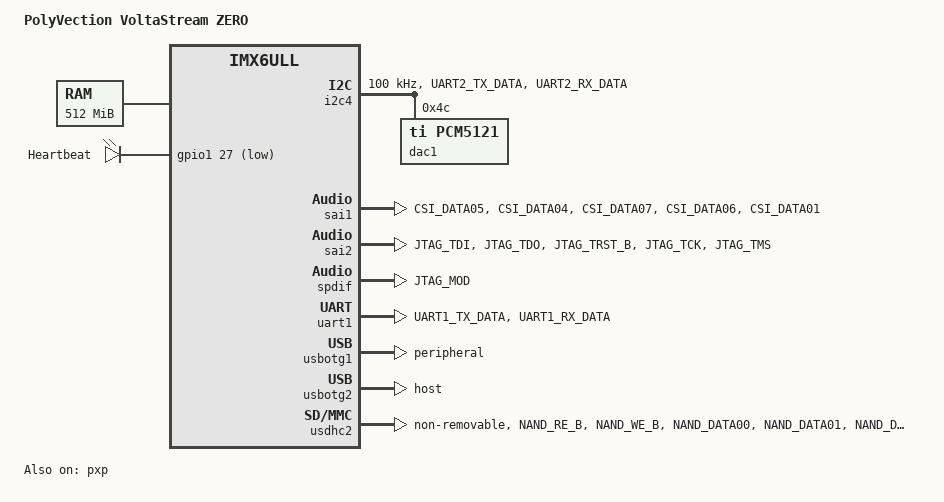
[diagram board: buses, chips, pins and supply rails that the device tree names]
/*
 * Copyright (C) 2016 Freescale Semiconductor, Inc.
 *
 * This program is free software; you can redistribute it and/or modify
 * it under the terms of the GNU General Public License version 2 as
 * published by the Free Software Foundation.
 */

/dts-v1/;

#include <dt-bindings/input/input.h>
#include "imx6ull.dtsi"

/ {
	model = "PolyVection VoltaStream ZERO";
	compatible = "polyvection,voltastream0", "fsl,imx6ull";

	chosen {
		stdout-path = &uart1;
	};

	memory {
		reg = <0x80000000 0x20000000>;
	};

	reserved-memory {
		#address-cells = <1>;
		#size-cells = <1>;
		ranges;

		linux,cma {
			compatible = "shared-dma-pool";
			reusable;
			size = <0x14000000>;
			linux,cma-default;
		};
	};

	regulators {
		compatible = "simple-bus";
		#address-cells = <1>;
		#size-cells = <0>;
	};

	sound-spdif {
		compatible = "fsl,imx-audio-spdif";
		model = "imx-spdif";
		spdif-controller = <&spdif>;
		spdif-out;
	};

	sound1 {
		compatible = "polyvection,imx-audio-pcm512x";
		model = "pcm5121";
		cpu-dai = <&sai2>;
		gpr = <&gpr 4 0x100000 0x100000>;
		asrc-controller = <&asrc>;
		audio-codec = <&dac1>;
		audio-routing =
			"CPU-Playback", "ASRC-Playback",
			"Playback", "CPU-Playback";
		status = "okay";
	};
	
	leds {
		compatible = "gpio-leds";

		user_led: user {
			label = "Heartbeat";
			pinctrl-names = "default";
			pinctrl-0 = <&pinctrl_led_green>;
			gpios = <&gpio1 27 GPIO_ACTIVE_LOW>;
			linux,default-trigger = "heartbeat";
		};
	};

};

&cpu0 {
	arm-supply = <&reg_arm>;
	soc-supply = <&reg_soc>;
};

&clks {
	assigned-clocks = <&clks IMX6UL_CLK_PLL4_AUDIO_DIV>;
	assigned-clock-rates = <786432000>;	
};

&gpc {
	fsl,cpu_pupscr_sw2iso = <0x1>;
	fsl,cpu_pupscr_sw = <0x0>;
	fsl,cpu_pdnscr_iso2sw = <0x1>;
	fsl,cpu_pdnscr_iso = <0x1>;
	fsl,ldo-bypass = <0>; /* DCDC, ldo-enable */
};

&i2c4 {
	clock-frequency = <100000>;
	pinctrl-names = "default";
	pinctrl-0 = <&pinctrl_i2c4>;
	status = "okay";

	dac1: pcm5121@4c {
		#sound-dai-cells = <0>;
		compatible = "ti,pcm5121";
		reg = <0x4c>;
		status = "okay";
	};
};


&pxp {
	status = "okay";
};

&sai1 {
	pinctrl-names = "default";
	pinctrl-0 = <&pinctrl_sai1>;

	assigned-clocks = <&clks IMX6UL_CLK_SAI1_SEL>,
			  <&clks IMX6UL_CLK_SAI1>;
	assigned-clock-parents = <&clks IMX6UL_CLK_PLL4_AUDIO_DIV>;
	assigned-clock-rates = <0>, <12288000>;

	status = "okay";
};


&sai2 {
	pinctrl-names = "default";
	pinctrl-0 = <&pinctrl_sai2>;

	assigned-clocks = <&clks IMX6UL_CLK_SAI2_SEL>,
			  <&clks IMX6UL_CLK_SAI2>;
	assigned-clock-parents = <&clks IMX6UL_CLK_PLL4_AUDIO_DIV>;
	assigned-clock-rates = <0>, <12288000>;

	status = "okay";
};

&spdif {
	pinctrl-names = "default";
	pinctrl-0 = <&pinctrl_spdif_out>;
	status = "okay";
};

&uart1 {
	pinctrl-names = "default";
	pinctrl-0 = <&pinctrl_uart1>;
	status = "okay";
};

&usbotg1 {
	dr_mode = "peripheral";
	srp-disable;
	hnp-disable;
	adp-disable;
	status = "okay";
};

&usbotg2 {
	dr_mode = "host";
	disable-over-current;
	status = "okay";
};

&usbphy1 {
	tx-d-cal = <0x5>;
};

&usbphy2 {
	tx-d-cal = <0x5>;
};

&usdhc2 {
	pinctrl-names = "default";
	pinctrl-0 = <&pinctrl_usdhc2>;
	non-removable;
	status = "okay";
};

&iomuxc {
	pinctrl-names = "default";
	pinctrl-0 = <&pinctrl_hog_1>;
	imx6ul-evk {

		pinctrl_hog_1: hoggrp-1 {
			fsl,pins = <
				MX6UL_PAD_SNVS_TAMPER0__GPIO5_IO00	0x80000000
				MX6UL_PAD_UART3_TX_DATA__GPIO1_IO24	0x4001f8b0 /* PCM MUTE PULL UP */
			>;
		};
		
		pinctrl_led_green: ledgreengrp {
			fsl,pins = <
				MX6UL_PAD_UART3_RTS_B__UART3_DCE_RTS        0x1b0b0
			>;
		};

		pinctrl_i2c1: i2c1grp {
			fsl,pins = <
				MX6UL_PAD_UART4_TX_DATA__I2C1_SCL 0x4001b8b0
				MX6UL_PAD_UART4_RX_DATA__I2C1_SDA 0x4001b8b0
			>;
		};

		pinctrl_i2c2: i2c2grp {
			fsl,pins = <
				MX6UL_PAD_UART5_TX_DATA__I2C2_SCL 0x4001b8b0
				MX6UL_PAD_UART5_RX_DATA__I2C2_SDA 0x4001b8b0
			>;
		};

		pinctrl_i2c4: i2c4grp {
			fsl,pins = <
				MX6UL_PAD_UART2_TX_DATA__I2C4_SCL	0x4001f8b0
				MX6UL_PAD_UART2_RX_DATA__I2C4_SDA	0x4001f8b0
			>;
		};

		pinctrl_sai1: sai1grp {
			fsl,pins = <
				MX6UL_PAD_CSI_DATA05__SAI1_TX_BCLK	0x11088
				MX6UL_PAD_CSI_DATA04__SAI1_TX_SYNC	0x11088
				MX6UL_PAD_CSI_DATA07__SAI1_TX_DATA	0x11088
				MX6UL_PAD_CSI_DATA06__SAI1_RX_DATA	0x11088
				MX6UL_PAD_CSI_DATA01__SAI1_MCLK		0x11088
			>;
		};

		pinctrl_sai2: sai2grp {
			fsl,pins = <
				MX6UL_PAD_JTAG_TDI__SAI2_TX_BCLK	0x17088
				MX6UL_PAD_JTAG_TDO__SAI2_TX_SYNC	0x17088
				MX6UL_PAD_JTAG_TRST_B__SAI2_TX_DATA	0x11088
				MX6UL_PAD_JTAG_TCK__SAI2_RX_DATA	0x11088
				MX6UL_PAD_JTAG_TMS__SAI2_MCLK		0x17088
			>;
		};

		pinctrl_sai3: sai3grp {
			fsl,pins = <
				MX6UL_PAD_LCD_DATA13__SAI3_TX_BCLK	0x17088
				MX6UL_PAD_LCD_DATA12__SAI3_TX_SYNC	0x17088
				MX6UL_PAD_LCD_DATA15__SAI3_TX_DATA	0x11088
			>;
		};
		
		pinctrl_spdif_out: spdifgrp-out {
			fsl,pins = <
				MX6UL_PAD_JTAG_MOD__SPDIF_OUT     	0x1b0b0
			>;
		};

		pinctrl_uart1: uart1grp {
			fsl,pins = <
				MX6UL_PAD_UART1_TX_DATA__UART1_DCE_TX 0x1b0b1
				MX6UL_PAD_UART1_RX_DATA__UART1_DCE_RX 0x1b0b1
			>;
		};

		pinctrl_usdhc2: usdhc2grp {
			fsl,pins = <
				MX6UL_PAD_NAND_RE_B__USDHC2_CLK     0x100f9
				MX6UL_PAD_NAND_WE_B__USDHC2_CMD     0x170f9
				MX6UL_PAD_NAND_DATA00__USDHC2_DATA0 0x170f9
				MX6UL_PAD_NAND_DATA01__USDHC2_DATA1 0x170f9
				MX6UL_PAD_NAND_DATA02__USDHC2_DATA2 0x170f9
				MX6UL_PAD_NAND_DATA03__USDHC2_DATA3 0x170f9
			>;
		};
	};
};
